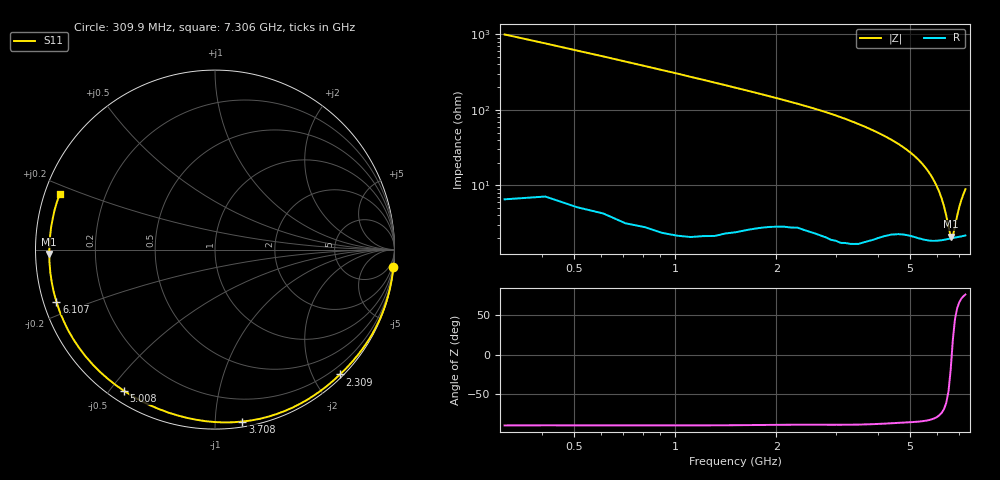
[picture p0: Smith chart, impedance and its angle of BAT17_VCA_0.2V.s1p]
! Infineon Technologies  Discrete & RF Semiconductors
! BAT17
! VCA = 0.2 V
! One-Port S-Parameters
# Hz  S  MA  R  50
!f  S11
!Hz  Mag  Ang
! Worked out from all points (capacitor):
!   71 points, 309.9 MHz to 7.306 GHz, reference 50 ohm
!   read as one part to ground: C = 508 fF near 309.9 MHz
!   lowest |Z| = 2.09 ohm at 6.607 GHz (marker M1)
!   series resonance near 6.655 GHz, so ESL is about 1.1 nH
!   S11 on the Smith chart (normalised r, x): 309.9 MHz: 0, -20; 2.309 GHz: 0.05, -2.42; 3.708 GHz: 0.04, -1.17; 5.008 GHz: 0.04, -0.54; 6.107 GHz: 0.04, -0.16; 7.306 GHz: 0.04, +0.17
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3.0985e8  0.9993 -5.7
8.096e8  0.9981 -14.9
1.2094e9  0.9968 -22.6
1.6092e9  0.993 -30.5
2.10895e9  0.9864 -40.7
2.30885e9  0.984 -45.0
2.70865e9  0.9824 -54.0
3.0085e9  0.981 -61.4
3.2084e9  0.9794 -66.7
3.4083e9  0.977 -72.3
3.70815e9  0.9702 -81.0
3.8081e9  0.9673 -84.0
4.008e9  0.9608 -90.1
4.2079e9  0.9537 -96.3
4.50775e9  0.9446 -106.0
4.70765e9  0.9399 -112.7
5.0075e9  0.9361 -122.8
5.30735e9  0.9353 -133.4
5.6072e9  0.9343 -144.1
5.70715e9  0.934 -147.8
5.90705e9  0.9323 -154.9
6.10695e9  0.9301 -161.9
6.30685e9  0.9276 -168.7
6.50675e9  0.925 -175.3
6.6067e9  0.9239 -178.5
6.90655e9  0.9215 172.3
7.10645e9  0.9206 166.2
7.30635e9  0.9194 160.4
